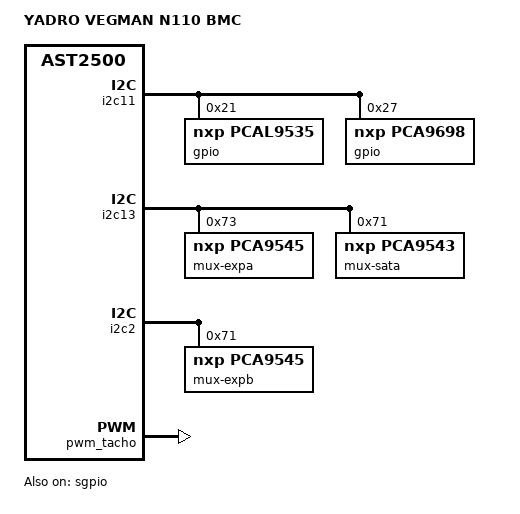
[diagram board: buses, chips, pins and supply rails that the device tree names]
// SPDX-License-Identifier: GPL-2.0+
// Copyright (C) 2021 YADRO
/dts-v1/;

#include "aspeed-bmc-vegman.dtsi"

/ {
	model = "YADRO VEGMAN N110 BMC";
	compatible = "yadro,vegman-n110-bmc", "aspeed,ast2500";
};

&gpio {
	status = "okay";
	gpio-line-names =
	/*A0-A7*/	"CHASSIS_INTRUSION","CASE_OPEN_FAULT_RST","","","SPEAKER_BMC","FM_FORCE_BMC_UPDATE","","",
	/*B0-B7*/	"","","","","","","","",
	/*C0-C7*/	"","","","","","","","",
	/*D0-D7*/	"","","","","","","","",
	/*E0-E7*/	"RESET_BUTTON","RESET_OUT","POWER_BUTTON","POWER_OUT","","","","",
	/*F0-F7*/	"NMI_OUT","PCIE_NIC_ALERT","","","SKT0_FAULT_LED","","RST_RGMII_PHYRST_DNP","",
	/*G0-G7*/	"CPU_ERR2","CPU_CATERR","PCH_BMC_THERMTRIP","","IRQ_NMI_EVENT","","","",
	/*H0-H7*/	"PWRGD_P3V3_RISER1","PWRGD_P3V3_RISER2","PWRGD_P3V3_RISER3","","MIO_BIOS_SEL","_SPI_FLASH_HOLD","_SPI_FLASH_WP","FM_240VA_STATUS",
	/*I0-I7*/	"","","","","","","","",
	/*J0-J7*/	"","","","","","","","",
	/*K0-K7*/	"","","","","","","","",
	/*L0-L7*/	"","","","","","","","",
	/*M0-M7*/	"","","","","","","","",
	/*N0-N7*/	"","","","","","","","",
	/*O0-O7*/	"","","","","","","","_SPI2_BMC_CS_SEL",
	/*P0-P7*/	"","","","","","","","",
	/*Q0-Q7*/	"","","","","","","","",
	/*R0-R7*/	"_SPI_RMM4_LITE_CS","","","","","","","",
	/*S0-S7*/	"_SPI2_BMC_CS1","","","IRQ_SML0_ALERT_MUX","FP_LED_STATUS_GREEN","FP_LED_STATUS_AMBER","FP_ID_LED","",
	/*T0-T7*/	"","","","","","","","",
	/*U0-U7*/	"","","","","","","","",
	/*V0-V7*/	"","","","","","","","",
	/*W0-W7*/	"","","","","","","","",
	/*X0-X7*/	"","","","","","","","",
	/*Y0-Y7*/	"SIO_S3","SIO_S5","","SIO_ONCONTROL","","","","",
	/*Z0-Z7*/	"FM_BMC_PWR_BTN","SIO_POWER_GOOD","FM_BMC_PWRBTN_OUT","FM_BMC_PCH_SCI_LPC","","","","",
	/*AA0-AA7*/	"","IRQ_SML1_PMBUS_ALERT","FM_PVCCIN_CPU0_PWR_IN_ALERT","FM_PVCCIN_CPU1_PWR_IN_ALERT","BMC_SYS_PWR_FAULT","BMC_SYS_PWR_OK","SMI","POST_COMPLETE",
	/*AB0-AB7*/	"FM_CPU_BMCINIT","NMI_BUTTON","ID_BUTTON","PS_PWROK","","","","",
	/*AC0-AC7*/	"","","","","","","","";
};

&sgpio {
	ngpios = <80>;
	bus-frequency = <2000000>;
	status = "okay";
	/* SGPIO lines. even: input, odd: output */
	gpio-line-names =
	/*A0-A7*/	"CPU1_PRESENCE","","CPU1_THERMTRIP","","CPU1_VRHOT","","CPU1_FIVR_FAULT","","CPU1_MEM_ABCD_VRHOT","","CPU1_MEM_EFGH_VRHOT","","","","","",
	/*B0-B7*/	"CPU1_MISMATCH","","CPU1_MEM_THERM_EVENT","","CPU2_PRESENCE","","CPU2_THERMTRIP","","CPU2_VRHOT","","CPU2_FIVR_FAULT","","CPU2_MEM_ABCD_VRHOT","","CPU2_MEM_EFGH_VRHOT","",
	/*C0-C7*/	"","","","","CPU2_MISMATCH","","CPU2_MEM_THERM_EVENT","","","","","","","","","",
	/*D0-D7*/	"","","","","","","","","","","","","","","","",
	/*E0-E7*/	"","","","","","","","","","","","","","","","",
	/*F0-F7*/	"SGPIO_PLD_MINOR_REV_BIT0","","SGPIO_PLD_MINOR_REV_BIT1","","SGPIO_PLD_MINOR_REV_BIT2","","SGPIO_PLD_MINOR_REV_BIT3","","SGPIO_PLD_MAJOR_REV_BIT0","","SGPIO_PLD_MAJOR_REV_BIT1","","SGPIO_PLD_MAJOR_REV_BIT2","","SGPIO_PLD_MAJOR_REV_BIT3","",
	/*G0-G7*/	"MAIN_PLD_MINOR_REV_BIT0","","MAIN_PLD_MINOR_REV_BIT1","","MAIN_PLD_MINOR_REV_BIT2","","MAIN_PLD_MINOR_REV_BIT3","","MAIN_PLD_MAJOR_REV_BIT0","","MAIN_PLD_MAJOR_REV_BIT1","","MAIN_PLD_MAJOR_REV_BIT2","","MAIN_PLD_MAJOR_REV_BIT3","",
	/*H0-H7*/	"","","","","","","","","","","","","","","","",
	/*I0-I7*/	"","","","","","","","","","","","","","","","",
	/*J0-J7*/	"","","","","","","","","","","","","","","","";
};

&i2c11 {
	/* SMB_BMC_MGMT_LVC3 */
	gpio@21 {
		compatible = "nxp,pcal9535";
		reg = <0x21>;
		gpio-controller;
		#gpio-cells = <2>;
		gpio-line-names =
		/*IO0.0-0.7*/	"", "", "", "", "", "", "PE_PCH_SCR_CLKREQ", "",
		/*IO1.0-1.7*/	"", "PE_PCH_MEZ_PRSNT", "PE_PCH_MEZ_PRSNT_", "NIC_4_PE_PRSNT", "NIC_3_PE_PRSNT", "NIC_2_PE_PRSNT", "NIC_1_PE_PRSNT", "";
	};
	gpio@27 {
		compatible = "nxp,pca9698";
		reg = <0x27>;
		gpio-controller;
		#gpio-cells = <2>;
		gpio-line-names =
		/*IO0.0-0.7*/	"PWRGD_PS_PWROK", "PWRGD_DSW_PWROK", "PWRGD_P5V_AUX", "PWRGD_P3V3_AUX", "PWRGD_P5V", "PWRGD_P3V3", "PWRGD_P1V8_PCH_AUX", "PWRGD_PCH_PVNN_AUX",
		/*IO1.0-1.7*/	"PWRGD_P1V05_PCH_AUX", "PWRGD_PCH_AUX_VRS", "PWRGD_PVCCIN_CPU0", "PWRGD_PVCCSA_CPU0", "PWRGD_PVCCIO_CPU0", "PWRGD_PVMCP_CPU0", "PWRGD_P1V0_CPU0", "PWRGD_PVDDQ_ABC_CPU0",
		/*IO2.0-2.7*/	"PWRGD_PVPP_ABC_CPU0", "PWRGD_PVTT_ABC_CPU0", "PWRGD_PVDDQ_DEF_CPU0", "PWRGD_PVPP_DEF_CPU0", "PWRGD_PVTT_DEF_CPU0", "", "", "",
		/*IO3.0-3.7*/	"", "", "", "", "", "", "", "",
		/*IO4.0-4.7*/	"", "", "", "", "", "", "", "";
	};
};

&i2c13 {
	/* SMB_PCIE2_STBY_LVC3 */
	mux-expa@73 {
		compatible = "nxp,pca9545";
		reg = <0x73>;
		#address-cells = <1>;
		#size-cells = <0>;
		i2c-mux-idle-disconnect;
	};
	mux-sata@71 {
		compatible = "nxp,pca9543";
		reg = <0x71>;
		#address-cells = <1>;
		#size-cells = <0>;
		i2c-mux-idle-disconnect;
	};
};

&i2c2 {
	/* SMB_PCIE_STBY_LVC3 */
	mux-expb@71 {
		compatible = "nxp,pca9545";
		reg = <0x71>;
		#address-cells = <1>;
		#size-cells = <0>;
		i2c-mux-idle-disconnect;
	};
};

&pwm_tacho {
	status = "okay";
	pinctrl-names = "default";
	pinctrl-0 = <&pinctrl_pwm0_default &pinctrl_pwm1_default
			 &pinctrl_pwm2_default &pinctrl_pwm3_default
			 &pinctrl_pwm4_default &pinctrl_pwm5_default>;

	fan@0 {
		reg = <0x00>;
		aspeed,fan-tach-ch = /bits/ 8 <0x00 0x06>;
	};
	fan@1 {
		reg = <0x01>;
		aspeed,fan-tach-ch = /bits/ 8 <0x01 0x08>;
	};
	fan@2 {
		reg = <0x02>;
		aspeed,fan-tach-ch = /bits/ 8 <0x02 0x09>;
	};
	fan@3 {
		reg = <0x03>;
		aspeed,fan-tach-ch = /bits/ 8 <0x03 0x0A>;
	};
	fan@4 {
		reg = <0x04>;
		aspeed,fan-tach-ch = /bits/ 8 <0x04 0x0B>;
	};
	fan@5 {
		reg = <0x05>;
		aspeed,fan-tach-ch = /bits/ 8 <0x05>;
	};
};
